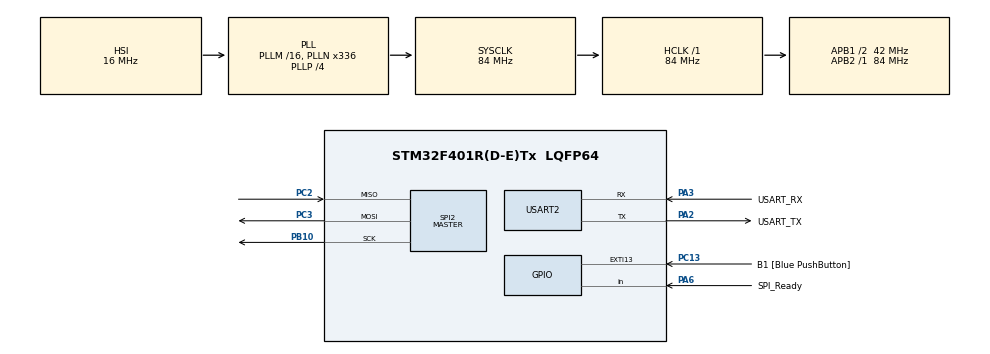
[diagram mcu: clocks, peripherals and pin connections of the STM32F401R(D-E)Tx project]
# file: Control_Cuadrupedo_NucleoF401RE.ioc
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Mcu.Family=STM32F4
Mcu.Name=STM32F401R(D-E)Tx
Mcu.Package=LQFP64
NVIC.EXTI15_10_IRQn=true\:0\:0\:false\:false\:true\:true\:true\:true
NVIC.PriorityGroup=NVIC_PRIORITYGROUP_0
PA13.GPIO_Label=TMS
PA13.Mode=Serial_Wire
PA13.Signal=SYS_JTMS-SWDIO
PA14.GPIO_Label=TCK
PA14.Mode=Serial_Wire
PA14.Signal=SYS_JTCK-SWCLK
PA2.GPIO_Label=USART_TX
PA2.GPIO_Mode=GPIO_MODE_AF_PP
PA2.GPIO_PuPd=GPIO_NOPULL
PA2.GPIO_Speed=GPIO_SPEED_FREQ_LOW
PA2.Mode=Asynchronous
PA2.Signal=USART2_TX
PA3.GPIO_Label=USART_RX
PA3.GPIO_Mode=GPIO_MODE_AF_PP
PA3.GPIO_PuPd=GPIO_NOPULL
PA3.GPIO_Speed=GPIO_SPEED_FREQ_LOW
PA3.Mode=Asynchronous
PA3.Signal=USART2_RX
PA6.GPIO_Label=SPI_Ready
PA6.GPIO_PuPd=GPIO_NOPULL
PA6.Signal=GPIO_Input
PB10.Mode=Full_Duplex_Master
PB10.Signal=SPI2_SCK
PB3.GPIO_Label=SWO
PB3.Signal=SYS_JTDO-SWO
PC13-ANTI_TAMP.GPIO_Label=B1 [Blue PushButton]
PC13-ANTI_TAMP.GPIO_ModeDefaultEXTI=GPIO_MODE_IT_FALLING
PC13-ANTI_TAMP.GPIO_PuPd=GPIO_NOPULL
PC13-ANTI_TAMP.Signal=GPXTI13
PC14-OSC32_IN.Mode=LSE-External-Oscillator
PC14-OSC32_IN.Signal=RCC_OSC32_IN
PC15-OSC32_OUT.Mode=LSE-External-Oscillator
PC15-OSC32_OUT.Signal=RCC_OSC32_OUT
PC2.Mode=Full_Duplex_Master
PC2.Signal=SPI2_MISO
PC3.Mode=Full_Duplex_Master
PC3.Signal=SPI2_MOSI
PH0\ -\ OSC_IN.Mode=HSE-External-Clock-Source
PH0\ -\ OSC_IN.Signal=RCC_OSC_IN
PH1\ -\ OSC_OUT.Mode=HSE-External-Clock-Source
PH1\ -\ OSC_OUT.Signal=RCC_OSC_OUT
ProjectManager.HeapSize=0x200
ProjectManager.StackSize=0x400
ProjectManager.TargetToolchain=MDK-ARM V5.32
RCC.48MHZClocksFreq_Value=48000000
RCC.AHBFreq_Value=84000000
RCC.APB1CLKDivider=RCC_HCLK_DIV2
RCC.APB1Freq_Value=42000000
RCC.APB1TimFreq_Value=84000000
RCC.APB2Freq_Value=84000000
RCC.APB2TimFreq_Value=84000000
RCC.CortexFreq_Value=84000000
RCC.HCLKFreq_Value=84000000
RCC.HSE_VALUE=8000000
RCC.HSI_VALUE=16000000
RCC.PLLN=336
RCC.PLLP=RCC_PLLP_DIV4
RCC.PLLQ=7
RCC.SYSCLKFreq_VALUE=84000000
RCC.SYSCLKSource=RCC_SYSCLKSOURCE_PLLCLK
RCC.VCOOutputFreq_Value=336000000
SPI2.BaudRatePrescaler=SPI_BAUDRATEPRESCALER_32
SPI2.DataSize=SPI_DATASIZE_16BIT
SPI2.Direction=SPI_DIRECTION_2LINES
SPI2.Mode=SPI_MODE_MASTER
SPI2.VirtualType=VM_MASTER
USART2.VirtualMode=VM_ASYNC
board=NUCLEO-F401RE

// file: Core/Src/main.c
/* USER CODE BEGIN Header */
/**
  ******************************************************************************
  * @file           : main.c
  * @brief          : Main program body
  ******************************************************************************
  * @attention
  *
  * Copyright (c) 2024 STMicroelectronics.
  * All rights reserved.
  *
  * This software is licensed under terms that can be found in the LICENSE file
  * in the root directory of this software component.
  * If no LICENSE file comes with this software, it is provided AS-IS.
  *
  ******************************************************************************
  */
/* USER CODE END Header */
#include "main.h"

/* USER CODE BEGIN PD */
#define WAITING_NUCLEO_DATA 0
#define WAITING_FALLING_EDGE 1
#define WAITING_TO_TX 2
#define WAITING_FALLING_EDGE_2 3
/* USER CODE END PD */

SPI_HandleTypeDef hspi2;

UART_HandleTypeDef huart2;

/* USER CODE BEGIN PV */
uint16_t buffer_in_spi[5] = {0};
//uint16_t buffer_out_spi[5] = {0};	//Actions

//uint16_t joint_angle[12] = {0};

/* USER CODE END PV */

void SystemClock_Config(void);
static void MX_GPIO_Init(void);
static void MX_USART2_UART_Init(void);
static void MX_SPI2_Init(void);

int main(void)
{

  /* MCU Configuration--------------------------------------------------------*/

  /* Reset of all peripherals, Initializes the Flash interface and the Systick. */
  HAL_Init();

  /* Configure the system clock */
  SystemClock_Config();

  /* Initialize all configured peripherals */
  MX_GPIO_Init();
  MX_USART2_UART_Init();
  MX_SPI2_Init();

  /* Infinite loop */
  /* USER CODE BEGIN WHILE */
	uint8_t state = WAITING_NUCLEO_DATA;
  while (1)
  {
		switch(state)
		{
			case WAITING_NUCLEO_DATA:
				if(HAL_GPIO_ReadPin(SPI_Ready_GPIO_Port, SPI_Ready_Pin) == 1)
				{
					//HAL_Delay(100);
					HAL_SPI_Receive(&hspi2, (uint8_t*)buffer_in_spi, 5, HAL_MAX_DELAY);
					state = WAITING_FALLING_EDGE;
				}
				break;
			case WAITING_FALLING_EDGE:
				if(HAL_GPIO_ReadPin(SPI_Ready_GPIO_Port, SPI_Ready_Pin) == 0)
				{
					state = WAITING_TO_TX;
				}
				break;
			case WAITING_TO_TX:
				if(HAL_GPIO_ReadPin(SPI_Ready_GPIO_Port, SPI_Ready_Pin) == 1)
				{
					//HAL_Delay(100);
					HAL_SPI_Transmit(&hspi2, (uint8_t*)buffer_in_spi, 5, HAL_MAX_DELAY);
					state = WAITING_FALLING_EDGE_2;
				}
				break;
			case WAITING_FALLING_EDGE_2:
				if(HAL_GPIO_ReadPin(SPI_Ready_GPIO_Port, SPI_Ready_Pin) == 0)
				{
					state = WAITING_NUCLEO_DATA;
				}
				break;
		}
    /* USER CODE END WHILE */

  }
}

void SystemClock_Config(void)
{
  RCC_OscInitTypeDef RCC_OscInitStruct = {0};
  RCC_ClkInitTypeDef RCC_ClkInitStruct = {0};

  /** Configure the main internal regulator output voltage
  */
  __HAL_RCC_PWR_CLK_ENABLE();
  __HAL_PWR_VOLTAGESCALING_CONFIG(PWR_REGULATOR_VOLTAGE_SCALE2);

  /** Initializes the RCC Oscillators according to the specified parameters
  * in the RCC_OscInitTypeDef structure.
  */
  RCC_OscInitStruct.OscillatorType = RCC_OSCILLATORTYPE_HSI;
  RCC_OscInitStruct.HSIState = RCC_HSI_ON;
  RCC_OscInitStruct.HSICalibrationValue = RCC_HSICALIBRATION_DEFAULT;
  RCC_OscInitStruct.PLL.PLLState = RCC_PLL_ON;
  RCC_OscInitStruct.PLL.PLLSource = RCC_PLLSOURCE_HSI;
  RCC_OscInitStruct.PLL.PLLM = 16;
  RCC_OscInitStruct.PLL.PLLN = 336;
  RCC_OscInitStruct.PLL.PLLP = RCC_PLLP_DIV4;
  RCC_OscInitStruct.PLL.PLLQ = 7;
  if (HAL_RCC_OscConfig(&RCC_OscInitStruct) != HAL_OK)
  {
    Error_Handler();
  }

  /** Initializes the CPU, AHB and APB buses clocks
  */
  RCC_ClkInitStruct.ClockType = RCC_CLOCKTYPE_HCLK|RCC_CLOCKTYPE_SYSCLK
                              |RCC_CLOCKTYPE_PCLK1|RCC_CLOCKTYPE_PCLK2;
  RCC_ClkInitStruct.SYSCLKSource = RCC_SYSCLKSOURCE_PLLCLK;
  RCC_ClkInitStruct.AHBCLKDivider = RCC_SYSCLK_DIV1;
  RCC_ClkInitStruct.APB1CLKDivider = RCC_HCLK_DIV2;
  RCC_ClkInitStruct.APB2CLKDivider = RCC_HCLK_DIV1;

  if (HAL_RCC_ClockConfig(&RCC_ClkInitStruct, FLASH_LATENCY_2) != HAL_OK)
  {
    Error_Handler();
  }
}

static void MX_SPI2_Init(void)
{

  /* SPI2 parameter configuration*/
  hspi2.Instance = SPI2;
  hspi2.Init.Mode = SPI_MODE_MASTER;
  hspi2.Init.Direction = SPI_DIRECTION_2LINES;
  hspi2.Init.DataSize = SPI_DATASIZE_16BIT;
  hspi2.Init.CLKPolarity = SPI_POLARITY_LOW;
  hspi2.Init.CLKPhase = SPI_PHASE_1EDGE;
  hspi2.Init.NSS = SPI_NSS_SOFT;
  hspi2.Init.BaudRatePrescaler = SPI_BAUDRATEPRESCALER_32;
  hspi2.Init.FirstBit = SPI_FIRSTBIT_MSB;
  hspi2.Init.TIMode = SPI_TIMODE_DISABLE;
  hspi2.Init.CRCCalculation = SPI_CRCCALCULATION_DISABLE;
  hspi2.Init.CRCPolynomial = 10;
  if (HAL_SPI_Init(&hspi2) != HAL_OK)
  {
    Error_Handler();
  }

}

static void MX_USART2_UART_Init(void)
{

  huart2.Instance = USART2;
  huart2.Init.BaudRate = 115200;
  huart2.Init.WordLength = UART_WORDLENGTH_8B;
  huart2.Init.StopBits = UART_STOPBITS_1;
  huart2.Init.Parity = UART_PARITY_NONE;
  huart2.Init.Mode = UART_MODE_TX_RX;
  huart2.Init.HwFlowCtl = UART_HWCONTROL_NONE;
  huart2.Init.OverSampling = UART_OVERSAMPLING_16;
  if (HAL_UART_Init(&huart2) != HAL_OK)
  {
    Error_Handler();
  }

}

static void MX_GPIO_Init(void)
{
  GPIO_InitTypeDef GPIO_InitStruct = {0};

  /* GPIO Ports Clock Enable */
  __HAL_RCC_GPIOC_CLK_ENABLE();
  __HAL_RCC_GPIOH_CLK_ENABLE();
  __HAL_RCC_GPIOA_CLK_ENABLE();
  __HAL_RCC_GPIOB_CLK_ENABLE();

  /*Configure GPIO pin : B1_Pin */
  GPIO_InitStruct.Pin = B1_Pin;
  GPIO_InitStruct.Mode = GPIO_MODE_IT_FALLING;
  GPIO_InitStruct.Pull = GPIO_NOPULL;
  HAL_GPIO_Init(B1_GPIO_Port, &GPIO_InitStruct);

  /*Configure GPIO pin : SPI_Ready_Pin */
  GPIO_InitStruct.Pin = SPI_Ready_Pin;
  GPIO_InitStruct.Mode = GPIO_MODE_INPUT;
  GPIO_InitStruct.Pull = GPIO_NOPULL;
  HAL_GPIO_Init(SPI_Ready_GPIO_Port, &GPIO_InitStruct);

  /* EXTI interrupt init*/
  HAL_NVIC_SetPriority(EXTI15_10_IRQn, 0, 0);
  HAL_NVIC_EnableIRQ(EXTI15_10_IRQn);

}

/* USER CODE BEGIN 4 */
/*
void HAL_SPI_RxCpltCallback(SPI_HandleTypeDef *hspi)
{
	if(hspi == &hspi2)
	{
		rx = 1;
	}
}
void HAL_SPI_TxCpltCallback(SPI_HandleTypeDef *hspi)
{
	if(hspi == &hspi2)
	{
		tx = 1;
	}
}

void HAL_SPI_TxRxCpltCallback(SPI_HandleTypeDef *hspi)
{
	if(hspi == &hspi2)
	{
		rx = 1;
	}
}

void HAL_GPIO_EXTI_Callback(uint16_t GPIO_Pin)
{
	if(GPIO_Pin == B1_Pin)
    {

    }
}
*/

/* USER CODE END 4 */

void Error_Handler(void)
{
  __disable_irq();
  while (1)
  {
  }
}
